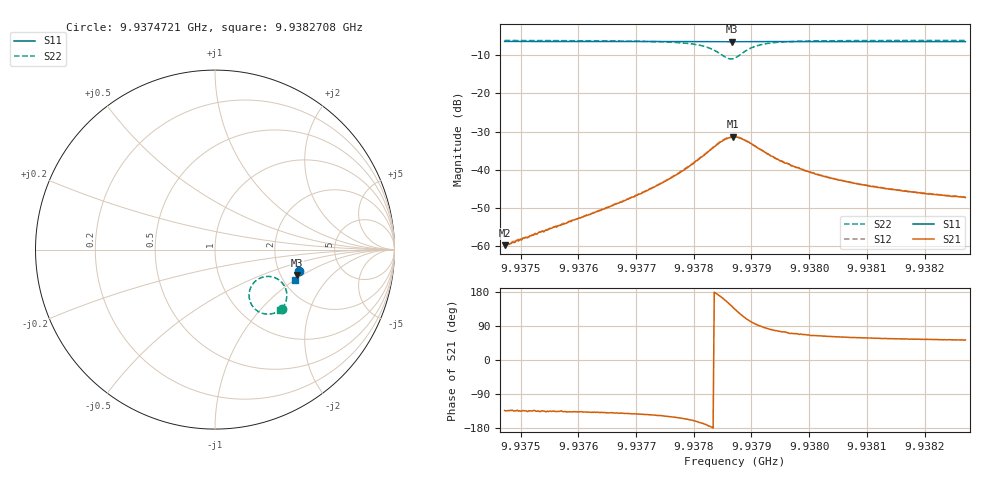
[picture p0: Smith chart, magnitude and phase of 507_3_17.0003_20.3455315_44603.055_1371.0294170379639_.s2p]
#  HZ  S  RI  R  50.00
! Rohde & Schwarz Vector Network Analyzer
! Rohde-Schwarz,ZNB20-2Port,1311601062101988,3.16
! Created: UTC 3/20/2024, 11:14:51 PM
! freq[Hz]  re:S11  im:S11  re:S21  im:S21  re:S12  im:S12  re:S22  im:S22
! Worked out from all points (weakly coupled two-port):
!   401 points, 9.9374721 GHz to 9.9382708 GHz, reference 50 ohm
!   highest |S21| = -31.38 dB at 9.9378674 GHz (marker M1); lowest = -59.8 dB at 9.9374721 GHz (marker M2)
!   lowest |S11| = -6.4 dB at 9.9378654 GHz (marker M3), VSWR 2.83, Z = 122 - j45.4 ohm
!   |S11| at or under -10 dB: nowhere
!   |S22| runs from -10.9 to -6.1 dB; largest |S21 - S12| = 0.0013
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9.93747208e9  0.4679 -0.1198  -0.000698 -0.000742  -0.000687 -0.000709  0.3728 -0.3284
9.93748406e9  0.4675 -0.1205  -0.000733 -0.000786  -0.000774 -0.000793  0.3715 -0.3291
9.93760587e9  0.4648 -0.1287  -0.00172 -0.00164  -0.00178 -0.0016  0.3567 -0.3405
9.93767775e9  0.4629 -0.1335  -0.00297 -0.00243  -0.00305 -0.00245  0.3424 -0.3488
9.93773965e9  0.4613 -0.1378  -0.00529 -0.00352  -0.00547 -0.0035  0.3194 -0.3569
9.93777959e9  0.46 -0.1405  -0.00859 -0.0042  -0.00881 -0.00413  0.2906 -0.3595
9.93781952e9  0.4581 -0.143  -0.0156 -0.00294  -0.016 -0.00268  0.2345 -0.3403
9.9378335e9  0.4572 -0.1437  -0.0194 -5.01e-05  -0.0198 0.000363  0.208 -0.3137
9.93784748e9  0.4563 -0.1441  -0.0226 0.00548  -0.023 0.00629  0.1902 -0.2645
9.93785746e9  0.456 -0.1441  -0.0228 0.0114  -0.0231 0.0122  0.1965 -0.2177
9.93786545e9  0.4557 -0.144  -0.0212 0.0161  -0.0209 0.0173  0.2185 -0.1822
9.93786745e9  0.4559 -0.144  -0.0205 0.0175  -0.0201 0.0183  0.2262 -0.1748
9.93787144e9  0.456 -0.1439  -0.0185 0.0193  -0.0182 0.0204  0.2437 -0.1625
9.93788142e9  0.4563 -0.1441  -0.0129 0.0223  -0.0124 0.023  0.2916 -0.1495
9.9378954e9  0.4567 -0.1449  -0.00584 0.0223  -0.00517 0.0224  0.3469 -0.163
9.93791737e9  0.4571 -0.1466  0.000467 0.0182  0.00097 0.0181  0.3884 -0.2057
9.93795331e9  0.4567 -0.1496  0.0035 0.0124  0.00372 0.0123  0.4004 -0.2555
9.93800523e9  0.4556 -0.1534  0.00387 0.00818  0.00402 0.00822  0.3945 -0.2902
9.93806114e9  0.4542 -0.1571  0.00349 0.0061  0.00364 0.00611  0.3864 -0.3086
9.93813901e9  0.452 -0.1623  0.00307 0.00463  0.00319 0.00461  0.3769 -0.3232
9.93820091e9  0.4503 -0.1663  0.00282 0.00396  0.00294 0.00394  0.3707 -0.3312
9.9382708e9  0.4483 -0.1708  0.0026 0.00342  0.00271 0.00342  0.3648 -0.338
